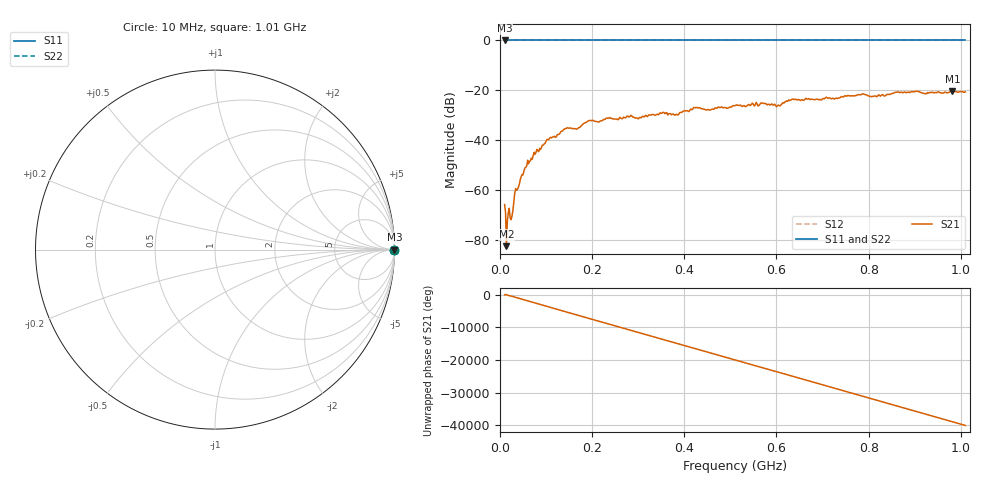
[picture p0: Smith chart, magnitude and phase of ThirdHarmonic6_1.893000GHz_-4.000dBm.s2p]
! 8/16/2025 10:51:13 PM
! C:\ANRITSUVNA\TEMP\TEMP.S2P
! CHANNEL.1
! TR.MEASUREMENT
! RAW.DATA
! RF.CORRECTION.OFF
! AVERAGING.OFF
! IF.BANDWIDTH: 5KHZ
! SWEEPTYPE:  FREQ.SWEEP(Linear)
! Reference Plane Port Info
! PORT:  PORT1  PORT2
! DISTANCE:  0  m  0  m
! TIME:  0  s  0  s
! PHASE.OFFSET:  0  deg.  0  deg.
! LOSS:  0  dB  0  dB
! REF.LOSS:  0  dB  0  dB
! REF.FREQ:  0  Hz  0  Hz
! Power Info
! POWER:  -20  dBm  -20  dBm
! EFF.POWER:  -20  dBm  -20  dBm
! SOURCE.ATTEN:  0  dB  0  dB
! TEST.ATTEN:  0  dB  0  dB
# GHZ S RI R 50.0
! FREQ.GHZ  S11RE  S11IM  S21RE  S21IM  S12RE  S12IM  S22RE  S22IM
!; PortSelection: Port_12
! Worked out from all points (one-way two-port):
!   501 points, 10 MHz to 1.01 GHz, reference 50 ohm
!   highest |S21| = -20.37 dB at 982 MHz (marker M1); lowest = -82.6 dB at 14 MHz (marker M2)
!   lowest |S11| = 0.0 dB at 10 MHz (marker M3)
!   |S11| at or under -10 dB: nowhere
!   |S22| runs from 0.0 to 0.0 dB; largest |S21 - S12| = 1.1
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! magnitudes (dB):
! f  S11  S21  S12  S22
! 10 MHz  0.0  -65.9  0.0  0.0
! 14 MHz  0.0  -82.6  0.0  0.0
! 18 MHz  0.0  -69.2  0.0  0.0
! 26 MHz  0.0  -70.5  0.0  0.0
! 36 MHz  0.0  -60.1  0.0  0.0
! 56 MHz  0.0  -50.9  0.0  0.0
! 76 MHz  0.0  -45.7  0.0  0.0
! 106 MHz  0.0  -39.7  0.0  0.0
! 142 MHz  0.0  -35.4  0.0  0.0
! 178 MHz  0.0  -33.9  0.0  0.0
! 196 MHz  0.0  -32.1  0.0  0.0
! 344 MHz  0.0  -29.8  0.0  0.0
! 382 MHz  0.0  -29.6  0.0  0.0
! 424 MHz  0.0  -27.0  0.0  0.0
! 452 MHz  0.0  -27.7  0.0  0.0
! 510 MHz  0.0  -26.1  0.0  0.0
! 604 MHz  0.0  -25.9  0.0  0.0
! 636 MHz  0.0  -23.5  0.0  0.0
! 678 MHz  0.0  -23.6  0.0  0.0
! 844 MHz  0.0  -21.7  0.0  0.0
! 982 MHz  0.0  -20.4  0.0  0.0
! 1.01 GHz  0.0  -20.6  0.0  0.0
